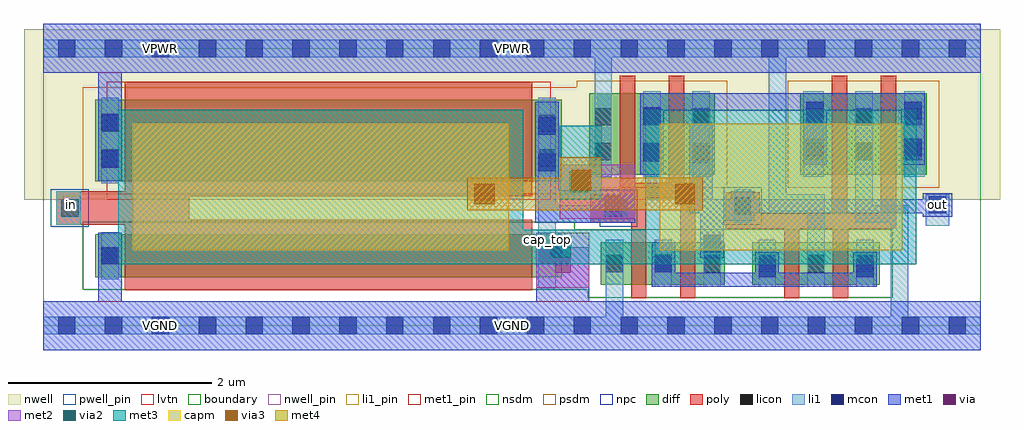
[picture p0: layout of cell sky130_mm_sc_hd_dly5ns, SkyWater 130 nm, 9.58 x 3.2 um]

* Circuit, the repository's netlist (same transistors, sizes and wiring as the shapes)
* NGSPICE file created from sky130_mm_sc_hd_dly5ns.ext - technology: sky130A

.subckt sky130_mm_sc_hd_dly5ns in out VPWR VGND VNB VPB
X0 a_1184_80# out VPWR VNB sky130_fd_pr__nfet_01v8 ad=3.99e+11p pd=4.42e+06u as=1.386e+11p ps=1.5e+06u w=420000u l=150000u
X1 cap_top VGND sky130_fd_pr__cap_mim_m3_1 l=1.24e+06u w=3.695e+06u
X2 VPWR out a_1184_80# VNB sky130_fd_pr__nfet_01v8 ad=0p pd=0u as=0p ps=0u w=420000u l=150000u
X3 VGND out a_1162_296# VPB sky130_fd_pr__pfet_01v8 ad=2.64e+11p pd=2.26e+06u as=7.52e+11p ps=6.68e+06u w=800000u l=150000u
X4 a_1162_296# out VGND VPB sky130_fd_pr__pfet_01v8 ad=0p pd=0u as=0p ps=0u w=800000u l=150000u
X5 cap_top in VGND VNB sky130_fd_pr__nfet_01v8 ad=1.218e+11p pd=1.42e+06u as=2.478e+11p ps=2.86e+06u w=420000u l=4e+06u
X6 cap_top VGND sky130_fd_pr__cap_mim_m3_1 l=1.24e+06u w=2.38e+06u
X7 a_1162_296# cap_top VPWR VPB sky130_fd_pr__pfet_01v8 ad=0p pd=0u as=4.72e+11p ps=4.38e+06u w=800000u l=150000u
X8 out cap_top a_1162_296# VPB sky130_fd_pr__pfet_01v8 ad=2.4e+11p pd=2.2e+06u as=0p ps=0u w=800000u l=150000u
X9 cap_top in VPWR VPB sky130_fd_pr__pfet_01v8_lvt ad=2.32e+11p pd=2.18e+06u as=0p ps=0u w=800000u l=4e+06u
X10 out cap_top a_1184_80# VNB sky130_fd_pr__nfet_01v8 ad=1.218e+11p pd=1.42e+06u as=0p ps=0u w=420000u l=150000u
X11 a_1184_80# cap_top VGND VNB sky130_fd_pr__nfet_01v8 ad=0p pd=0u as=0p ps=0u w=420000u l=150000u
.ends

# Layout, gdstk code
import gdstk
lib = gdstk.Library(unit=1e-6, precision=1e-09)
def R(c, l, rs):  # rectangles x0, y0, x1, y1
    for r in rs: c.add(gdstk.rectangle(r[:2], r[2:], *l))
def A(c, l, x, y, w, h, nx, ny, dx, dy):  # array of equal rectangles
    R(c, l, [(x+i*dx, y+j*dy, x+i*dx+w, y+j*dy+h) for i in range(nx) for j in range(ny)])
nwell_pin = (64, 16)
nwell = (64, 20)
diff = (65, 20)
poly = (66, 20)
licon = (66, 44)
li1_pin = (67, 16)
li1 = (67, 20)
mcon = (67, 44)
met1_pin = (68, 16)
met1 = (68, 20)
via = (68, 44)
met2 = (69, 20)
via2 = (69, 44)
met3 = (70, 20)
via3 = (70, 44)
met4 = (71, 20)
capm = (89, 44)
nsdm = (93, 44)
psdm = (94, 20)
npc = (95, 20)
pwell_pin = (122, 16)
lvtn = (125, 44)
boundary = (235, 4)

sky130_mm_sc_hd_dly5ns = lib.new_cell('sky130_mm_sc_hd_dly5ns')
R(sky130_mm_sc_hd_dly5ns, nwell_pin, [(1.065,2.635,1.235,2.805)])
R(sky130_mm_sc_hd_dly5ns, nwell, [(-0.19,1.235,9.39,2.91)])
R(sky130_mm_sc_hd_dly5ns, diff, [(5.47,0.4,6.69,0.82), (6.96,0.4,8.21,0.82), (0.51,0.475,5.09,0.895), (0.51,1.415,5.09,2.215), (5.36,1.48,6.59,2.28), (7.43,1.48,8.67,2.28)])
R(sky130_mm_sc_hd_dly5ns, poly, [(5.77,0.27,5.92,1.01), (6.25,0.27,6.4,1.25), (7.27,0.27,7.42,0.95), (7.75,0.27,7.9,0.95), (0.8,0.345,4.8,0.99), (6.7,0.95,8.37,1.1), (0.125,0.99,4.8,1.04), (5.37,1.01,5.92,1.25), (0.125,1.04,1.43,1.27), (6.7,1.1,7.03,1.31), (7.74,1.1,7.89,2.45), (8.22,1.1,8.37,2.45), (5.37,1.25,6.4,1.29), (0.125,1.27,4.8,1.32), (5.66,1.29,6.4,1.4), (0.8,1.32,4.8,2.395), (5.66,1.4,5.81,2.45), (6.14,1.4,6.29,2.45)])
A(sky130_mm_sc_hd_dly5ns, licon, 5.52, 0.525, 0.17, 0.17, 3, 1, 0.48, 0)
A(sky130_mm_sc_hd_dly5ns, licon, 7.02, 0.525, 0.17, 0.17, 3, 1, 0.48, 0)
A(sky130_mm_sc_hd_dly5ns, licon, 5.41, 1.625, 0.17, 0.17, 3, 2, 0.48, 0.34)
A(sky130_mm_sc_hd_dly5ns, licon, 7.49, 1.625, 0.17, 0.17, 3, 2, 0.48, 0.34)
R(sky130_mm_sc_hd_dly5ns, licon, [(0.57,0.6,0.74,0.77), (4.86,0.6,5.03,0.77), (0.175,1.07,0.345,1.24), (5.56,1.07,5.73,1.24), (6.78,1.09,6.95,1.26), (0.57,1.56,0.74,1.73), (4.86,1.56,5.03,1.73), (0.57,1.9,0.74,2.07), (4.86,1.9,5.03,2.07)])
R(sky130_mm_sc_hd_dly5ns, li1_pin, [(0.19,1.105,0.36,1.275)])
R(sky130_mm_sc_hd_dly5ns, li1, [(0,-0.085,9.2,0.085), (5.52,0.085,5.69,0.84), (8.32,0.085,8.49,1.01), (4.86,0.365,5.03,1.01), (6,0.38,6.17,0.84), (6.48,0.38,6.65,0.89), (7.02,0.38,7.19,0.84), (7.5,0.38,7.67,1.12), (7.98,0.38,8.15,0.84), (0.57,0.455,0.74,0.915), (8.66,0.98,8.89,1.29), (0.125,0.99,0.365,1.32), (4.86,1.01,5.81,1.18), (6.78,1.01,6.95,1.34), (7.97,1.01,8.49,1.18), (7.12,1.12,7.67,1.29), (4.86,1.18,5.03,2.235), (5.45,1.18,5.81,1.29), (7.97,1.18,8.14,2.3), (7.12,1.29,7.29,2.635), (0.57,1.395,0.74,2.235), (5.41,1.46,5.58,2.635), (5.89,1.46,6.06,2.3), (6.37,1.46,6.54,2.3), (7.46,1.46,7.66,2.3), (8.45,1.46,8.65,2.3), (0,2.635,9.2,2.805)])
A(sky130_mm_sc_hd_dly5ns, mcon, 0.145, -0.085, 0.17, 0.17, 20, 2, 0.46, 2.72)
R(sky130_mm_sc_hd_dly5ns, mcon, [(7.02,0.475,7.19,0.645), (7.98,0.475,8.15,0.645), (6,0.525,6.17,0.695), (0.57,0.6,0.74,0.77), (6.48,0.72,6.65,0.89), (5.505,1.07,5.675,1.24), (6.78,1.09,6.95,1.26), (8.69,1.1,8.86,1.27), (4.86,1.515,5.03,1.685), (0.57,1.55,0.74,1.72), (6.37,1.595,6.54,1.765), (5.89,1.615,6.06,1.785), (7.49,1.665,7.66,1.835), (8.45,1.665,8.62,1.835), (4.86,1.875,5.03,2.045), (0.57,1.91,0.74,2.08), (5.89,1.975,6.06,2.145), (7.49,2.025,7.66,2.195), (8.45,2.025,8.62,2.195)])
R(sky130_mm_sc_hd_dly5ns, met1_pin, [(0,-0.24,9.2,0.24), (1.065,-0.085,1.235,0.085), (8.69,1.1,8.86,1.27), (0,2.48,9.2,2.96), (1.065,2.635,1.235,2.805)])
R(sky130_mm_sc_hd_dly5ns, met1, [(0,-0.24,9.2,0.24), (0.54,0.24,0.77,0.91), (4.84,0.24,5.36,0.77), (5.97,0.38,8.18,0.52), (5.97,0.52,6.2,0.82), (6.99,0.52,7.22,0.72), (7.95,0.52,8.18,0.72), (6.45,0.66,6.68,1.03), (4.83,1.01,5.81,1.33), (6.45,1.03,6.98,1.1), (8.63,1.07,8.92,1.1), (6.34,1.1,8.92,1.24), (6.34,1.24,6.57,1.97), (6.75,1.24,6.98,1.32), (8.63,1.24,8.92,1.3), (4.83,1.33,5.06,2.195), (0.54,1.415,0.77,2.48), (5.86,1.48,6.09,2.11), (7.46,1.58,7.69,2.11), (8.42,1.58,8.65,2.11), (5.86,2.11,8.65,2.28), (0,2.48,9.2,2.96)])
R(sky130_mm_sc_hd_dly5ns, via, [(5.025,0.52,5.175,0.67), (5.515,1.125,5.665,1.275)])
R(sky130_mm_sc_hd_dly5ns, met2, [(4.84,0.37,5.36,0.91), (5.07,1.05,5.81,1.58)])
R(sky130_mm_sc_hd_dly5ns, via2, [(4.98,0.67,5.18,0.87), (5.16,1.31,5.36,1.51)])
R(sky130_mm_sc_hd_dly5ns, met3, [(0.735,0.6,8.57,0.94), (0.735,0.94,4.71,2.12), (5.91,0.94,8.57,2.12), (5.07,1.24,5.48,1.96)])
R(sky130_mm_sc_hd_dly5ns, via3, [(4.23,1.19,4.43,1.39), (6.2,1.19,6.4,1.39), (5.18,1.33,5.38,1.53)])
R(sky130_mm_sc_hd_dly5ns, met4, [(4.16,1.13,6.47,1.45), (5.07,1.45,5.48,1.65)])
R(sky130_mm_sc_hd_dly5ns, capm, [(0.875,0.74,4.57,1.98), (6.05,0.74,8.43,1.98)])
R(sky130_mm_sc_hd_dly5ns, nsdm, [(5.345,0.275,8.335,0.35), (0.385,0.35,8.335,0.945), (0.385,0.945,5.215,1.02)])
R(sky130_mm_sc_hd_dly5ns, psdm, [(0.385,1.29,5.215,1.355), (0.385,1.355,6.715,2.34), (7.305,1.355,8.795,2.405), (5.235,2.34,6.715,2.405)])
R(sky130_mm_sc_hd_dly5ns, npc, [(0.075,0.97,0.445,1.34), (5.46,0.97,5.83,1.34), (6.68,0.99,7.05,1.36)])
R(sky130_mm_sc_hd_dly5ns, pwell_pin, [(1.065,-0.085,1.235,0.085)])
R(sky130_mm_sc_hd_dly5ns, lvtn, [(0.62,1.235,4.98,2.395)])
R(sky130_mm_sc_hd_dly5ns, boundary, [(0,0,9.2,2.72)])
sky130_mm_sc_hd_dly5ns.add(gdstk.Label('cap_top', (4.945,0.845), layer=67, texttype=5))
sky130_mm_sc_hd_dly5ns.add(gdstk.Label('in', (0.275,1.19), layer=67, texttype=16))
sky130_mm_sc_hd_dly5ns.add(gdstk.Label('out', (8.775,1.185), layer=68, texttype=16))
sky130_mm_sc_hd_dly5ns.add(gdstk.Label('VPWR', (4.6,2.72), layer=68, texttype=16))
sky130_mm_sc_hd_dly5ns.add(gdstk.Label('VPWR', (1.15,2.72), layer=68, texttype=16))
sky130_mm_sc_hd_dly5ns.add(gdstk.Label('VGND', (1.15,0), layer=68, texttype=16))
sky130_mm_sc_hd_dly5ns.add(gdstk.Label('VGND', (4.6,0), layer=68, texttype=16))
sky130_mm_sc_hd_dly5ns.add(gdstk.Label('VPB', (1.15,2.72), layer=64, texttype=16))
sky130_mm_sc_hd_dly5ns.add(gdstk.Label('VNB', (1.15,0), layer=122, texttype=16))

lib.write_gds('sky130_mm_sc_hd_dly5ns.gds')
